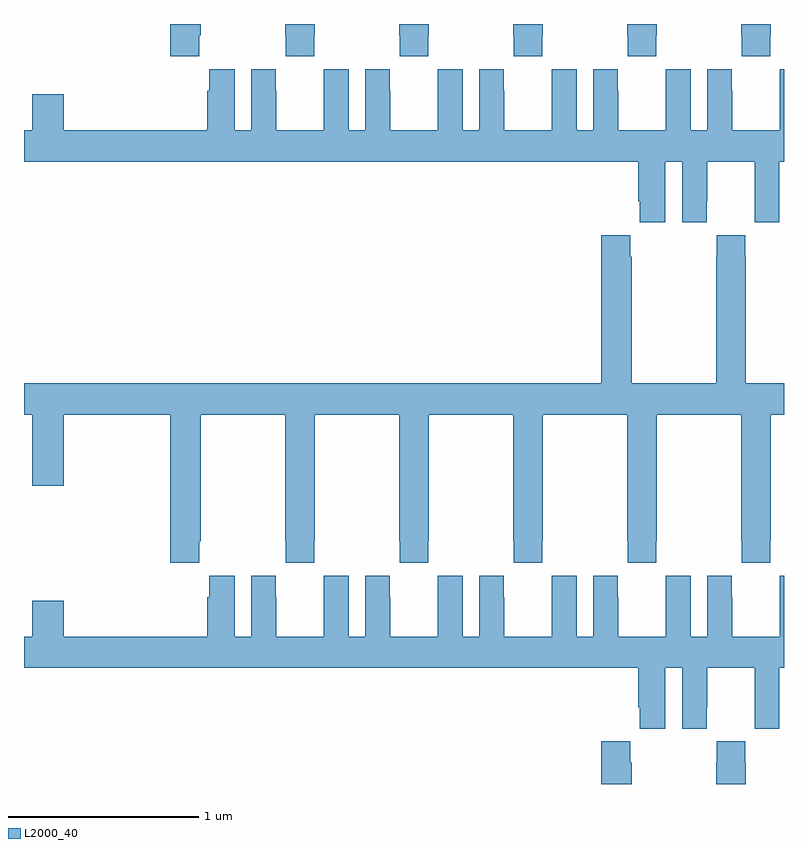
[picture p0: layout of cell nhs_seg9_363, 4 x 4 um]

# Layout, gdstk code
import gdstk
lib = gdstk.Library(unit=1e-6, precision=1e-09)
def P(c, l, *ps):  # polygons
    for p in ps: c.add(gdstk.Polygon(p, *l))
L2000_40 = (2000, 40)

nhs_seg9_363 = lib.new_cell('nhs_seg9_363')
P(nhs_seg9_363, L2000_40, [(130.527,1174.441),(130.53,1174.441),(130.53,1174.5),(130.375,1174.5),(130.375,1174.441),(130.377,1174.441),(130.377,1174.329),(130.527,1174.329)],
  [(131.127,1174.441),(131.13,1174.441),(131.13,1174.5),(130.975,1174.5),(130.975,1174.441),(130.977,1174.441),(130.977,1174.329),(131.127,1174.329)],
  [(131.727,1174.441),(131.73,1174.441),(131.73,1174.5),(131.575,1174.5),(131.575,1174.441),(131.577,1174.441),(131.577,1174.329),(131.727,1174.329)],
  [(132.327,1174.441),(132.33,1174.441),(132.33,1174.5),(132.175,1174.5),(132.175,1174.441),(132.177,1174.441),(132.177,1174.329),(132.327,1174.329)],
  [(132.927,1174.441),(132.93,1174.441),(132.93,1174.5),(132.775,1174.5),(132.775,1174.441),(132.777,1174.441),(132.777,1174.329),(132.927,1174.329)],
  [(129.923,1174.441),(129.93,1174.441),(129.93,1174.5),(129.77,1174.5),(129.77,1174.329),(129.923,1174.329)],
  [(132.376,1173.776),(132.464,1173.776),(132.464,1173.456),(132.594,1173.456),(132.594,1173.568),(132.595,1173.568),(132.595,1173.776),(132.845,1173.776),(132.845,1173.568),(132.846,1173.568),(132.846,1173.456),(132.976,1173.456),(132.976,1173.776),(133,1173.776),(133,1174.261),(132.978,1174.261),(132.978,1174.148),(132.977,1174.148),(132.977,1173.94),(132.727,1173.94),(132.727,1174.148),(132.726,1174.148),(132.726,1174.261),(132.596,1174.261),(132.596,1173.94),(132.508,1173.94),(132.508,1174.261),(132.378,1174.261),(132.378,1174.148),(132.377,1174.148),(132.377,1173.94),(132.127,1173.94),(132.127,1174.148),(132.126,1174.148),(132.126,1174.261),(131.996,1174.261),(131.996,1173.94),(131.908,1173.94),(131.908,1174.261),(131.778,1174.261),(131.778,1174.148),(131.777,1174.148),(131.777,1173.94),(131.527,1173.94),(131.527,1174.148),(131.526,1174.148),(131.526,1174.261),(131.396,1174.261),(131.396,1173.94),(131.308,1173.94),(131.308,1174.261),(131.178,1174.261),(131.178,1174.148),(131.177,1174.148),(131.177,1173.94),(130.927,1173.94),(130.927,1174.148),(130.926,1174.148),(130.926,1174.261),(130.796,1174.261),(130.796,1173.94),(130.708,1173.94),(130.708,1174.261),(130.578,1174.261),(130.578,1174.148),(130.577,1174.148),(130.577,1173.94),(130.327,1173.94),(130.327,1174.148),(130.326,1174.148),(130.326,1174.261),(130.196,1174.261),(130.196,1173.94),(130.108,1173.94),(130.108,1174.261),(129.974,1174.261),(129.974,1174.148),(129.965,1174.148),(129.965,1173.94),(129.208,1173.94),(129.208,1174.129),(129.044,1174.129),(129.044,1173.94),(129,1173.94),(129,1173.776),(132.233,1173.776),(132.233,1173.568),(132.242,1173.568),(132.242,1173.456),(132.376,1173.456)],
  [(129,1172.444),(129.044,1172.444),(129.044,1172.07),(129.208,1172.07),(129.208,1172.444),(129.77,1172.444),(129.77,1171.665),(129.923,1171.665),(129.923,1171.777),(129.93,1171.777),(129.93,1172.444),(130.375,1172.444),(130.375,1171.777),(130.377,1171.777),(130.377,1171.665),(130.527,1171.665),(130.527,1171.777),(130.53,1171.777),(130.53,1172.444),(130.975,1172.444),(130.975,1171.777),(130.977,1171.777),(130.977,1171.665),(131.127,1171.665),(131.127,1171.777),(131.13,1171.777),(131.13,1172.444),(131.575,1172.444),(131.575,1171.777),(131.577,1171.777),(131.577,1171.665),(131.727,1171.665),(131.727,1171.777),(131.73,1171.777),(131.73,1172.444),(132.175,1172.444),(132.175,1171.777),(132.177,1171.777),(132.177,1171.665),(132.327,1171.665),(132.327,1171.777),(132.33,1171.777),(132.33,1172.444),(132.775,1172.444),(132.775,1171.777),(132.777,1171.777),(132.777,1171.665),(132.927,1171.665),(132.927,1171.777),(132.93,1171.777),(132.93,1172.444),(133,1172.444),(133,1172.608),(132.798,1172.608),(132.798,1173.275),(132.795,1173.275),(132.795,1173.388),(132.645,1173.388),(132.645,1173.275),(132.643,1173.275),(132.643,1172.608),(132.198,1172.608),(132.198,1173.275),(132.191,1173.275),(132.191,1173.388),(132.038,1173.388),(132.038,1172.608),(129,1172.608)],
  [(132.376,1171.112),(132.464,1171.112),(132.464,1170.792),(132.594,1170.792),(132.594,1170.904),(132.595,1170.904),(132.595,1171.112),(132.845,1171.112),(132.845,1170.904),(132.846,1170.904),(132.846,1170.792),(132.976,1170.792),(132.976,1171.112),(133,1171.112),(133,1171.597),(132.978,1171.597),(132.978,1171.484),(132.977,1171.484),(132.977,1171.276),(132.727,1171.276),(132.727,1171.484),(132.726,1171.484),(132.726,1171.597),(132.596,1171.597),(132.596,1171.276),(132.508,1171.276),(132.508,1171.597),(132.378,1171.597),(132.378,1171.484),(132.377,1171.484),(132.377,1171.276),(132.127,1171.276),(132.127,1171.484),(132.126,1171.484),(132.126,1171.597),(131.996,1171.597),(131.996,1171.276),(131.908,1171.276),(131.908,1171.597),(131.778,1171.597),(131.778,1171.484),(131.777,1171.484),(131.777,1171.276),(131.527,1171.276),(131.527,1171.484),(131.526,1171.484),(131.526,1171.597),(131.396,1171.597),(131.396,1171.276),(131.308,1171.276),(131.308,1171.597),(131.178,1171.597),(131.178,1171.484),(131.177,1171.484),(131.177,1171.276),(130.927,1171.276),(130.927,1171.484),(130.926,1171.484),(130.926,1171.597),(130.796,1171.597),(130.796,1171.276),(130.708,1171.276),(130.708,1171.597),(130.578,1171.597),(130.578,1171.484),(130.577,1171.484),(130.577,1171.276),(130.327,1171.276),(130.327,1171.484),(130.326,1171.484),(130.326,1171.597),(130.196,1171.597),(130.196,1171.276),(130.108,1171.276),(130.108,1171.597),(129.974,1171.597),(129.974,1171.484),(129.965,1171.484),(129.965,1171.276),(129.208,1171.276),(129.208,1171.465),(129.044,1171.465),(129.044,1171.276),(129,1171.276),(129,1171.112),(132.233,1171.112),(132.233,1170.904),(132.242,1170.904),(132.242,1170.792),(132.376,1170.792)],
  [(132.198,1170.611),(132.191,1170.611),(132.191,1170.724),(132.038,1170.724),(132.038,1170.5),(132.198,1170.5)],
  [(132.798,1170.611),(132.795,1170.611),(132.795,1170.724),(132.645,1170.724),(132.645,1170.611),(132.643,1170.611),(132.643,1170.5),(132.798,1170.5)])

lib.write_gds('nhs_seg9_363.gds')
